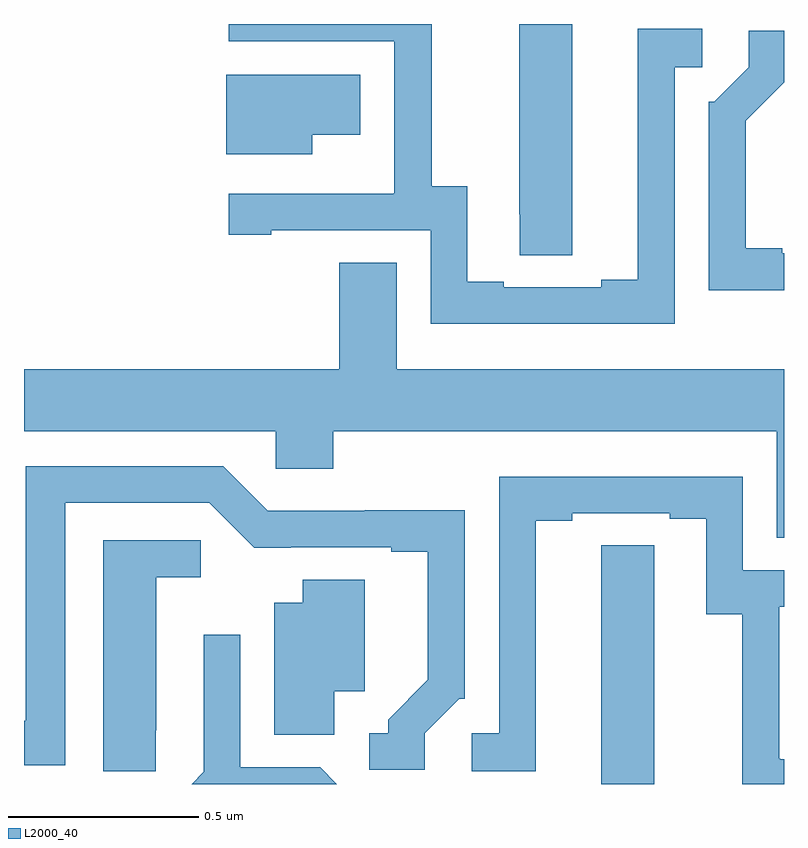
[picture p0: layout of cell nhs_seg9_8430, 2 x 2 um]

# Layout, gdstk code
import gdstk
lib = gdstk.Library(unit=1e-6, precision=1e-09)
def P(c, l, *ps):  # polygons
    for p in ps: c.add(gdstk.Polygon(p, *l))
L2000_40 = (2000, 40)

nhs_seg9_8430 = lib.new_cell('nhs_seg9_8430')
P(nhs_seg9_8430, L2000_40, [(218.712,1189.386),(218.785,1189.386),(218.785,1189.487),(218.615,1189.487),(218.615,1188.827),(218.519,1188.827),(218.519,1188.807),(218.263,1188.807),(218.263,1188.822),(218.167,1188.822),(218.167,1189.073),(218.073,1189.073),(218.073,1189.5),(217.539,1189.5),(217.539,1189.455),(217.974,1189.455),(217.974,1189.054),(217.973,1189.054),(217.973,1189.053),(217.539,1189.053),(217.539,1188.945),(217.651,1188.945),(217.651,1188.957),(218.07,1188.957),(218.07,1188.711),(218.712,1188.711)],
  [(218.443,1189.5),(218.303,1189.5),(218.303,1189),(218.304,1189),(218.304,1188.892),(218.443,1188.892)],
  [(219,1188.897),(218.995,1188.897),(218.995,1188.91),(218.899,1188.91),(218.899,1189.246),(219,1189.347),(219,1189.482),(218.907,1189.482),(218.907,1189.386),(218.817,1189.296),(218.802,1189.296),(218.802,1188.8),(219,1188.8)],
  [(217.759,1189.208),(217.885,1189.208),(217.885,1189.366),(217.532,1189.366),(217.532,1189.157),(217.759,1189.157)],
  [(219,1188.592),(217.981,1188.592),(217.981,1188.872),(217.829,1188.872),(217.829,1188.592),(217,1188.592),(217,1188.428),(217.662,1188.428),(217.662,1188.33),(217.814,1188.33),(217.814,1188.428),(218.981,1188.428),(218.981,1188.148),(219,1188.148)],
  [(218.055,1187.634),(218.145,1187.724),(218.16,1187.724),(218.16,1188.221),(217.897,1188.221),(217.897,1188.219),(217.641,1188.219),(217.524,1188.336),(217.004,1188.336),(217.004,1187.666),(217,1187.666),(217,1187.55),(217.108,1187.55),(217.108,1188.24),(217.488,1188.24),(217.606,1188.122),(217.702,1188.122),(217.702,1188.123),(217.967,1188.123),(217.967,1188.111),(218.063,1188.111),(218.063,1187.774),(217.958,1187.669),(217.958,1187.634),(217.908,1187.634),(217.908,1187.538),(218.055,1187.538)],
  [(219,1187.565),(218.99,1187.565),(218.99,1187.566),(218.988,1187.566),(218.988,1187.967),(219,1187.967),(219,1188.063),(218.892,1188.063),(218.892,1188.309),(218.25,1188.309),(218.25,1187.634),(218.178,1187.634),(218.178,1187.533),(218.347,1187.533),(218.347,1188.193),(218.443,1188.193),(218.443,1188.213),(218.699,1188.213),(218.699,1188.198),(218.795,1188.198),(218.795,1187.947),(218.89,1187.947),(218.89,1187.5),(219,1187.5)],
  [(217.347,1187.641),(217.348,1187.641),(217.348,1188.044),(217.465,1188.044),(217.465,1188.141),(217.208,1188.141),(217.208,1187.533),(217.347,1187.533)],
  [(218.659,1188.02),(218.658,1188.02),(218.658,1188.128),(218.519,1188.128),(218.519,1187.5),(218.659,1187.5)],
  [(217.816,1187.744),(217.897,1187.744),(217.897,1188.038),(217.733,1188.038),(217.733,1187.977),(217.658,1187.977),(217.658,1187.629),(217.816,1187.629)],
  [(217.779,1187.544),(217.569,1187.544),(217.569,1187.893),(217.473,1187.893),(217.473,1187.532),(217.441,1187.5),(217.823,1187.5)])

lib.write_gds('nhs_seg9_8430.gds')
